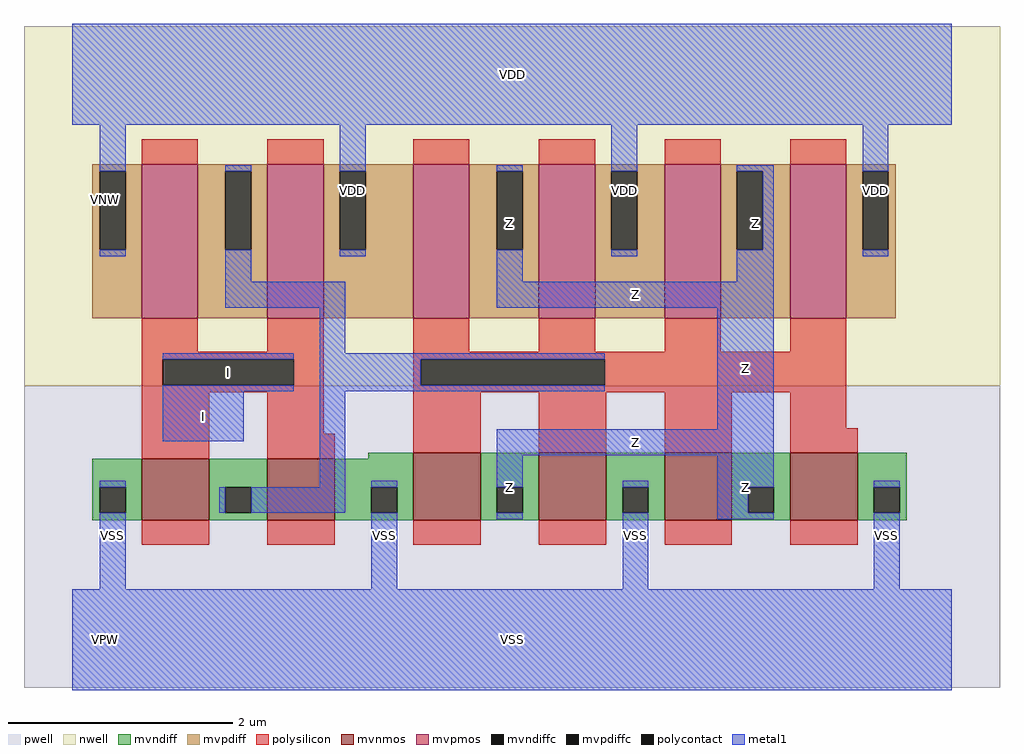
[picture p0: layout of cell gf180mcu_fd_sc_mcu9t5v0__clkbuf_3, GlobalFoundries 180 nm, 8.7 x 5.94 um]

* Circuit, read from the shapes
.subckt gf180mcu_fd_sc_mcu9t5v0__clkbuf_3 I Z VDD VNW VPW VSS
XM1 n1 I VSS VPW nfet_06v0 w=0.55u l=0.6u m=2
XM2 Z n1 VSS VPW nfet_06v0 w=0.6u l=0.6u m=4
XM3 n1 I VDD VNW pfet_06v0 w=1.375u l=0.5u m=2
XM4 Z n1 VDD VNW pfet_06v0 w=1.375u l=0.5u m=4
.ends

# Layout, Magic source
magic
tech gf180mcuD
magscale 1 10
<< nwell >>
rect -86 453 1654 1094
<< pwell >>
rect -86 -86 1654 453
<< mvnmos >>
rect 124 213 244 323
rect 348 213 468 323
rect 608 213 728 333
rect 832 213 952 333
rect 1056 213 1176 333
rect 1280 213 1400 333
<< mvpmos >>
rect 124 573 224 848
rect 348 573 448 848
rect 608 573 708 848
rect 832 573 932 848
rect 1056 573 1156 848
rect 1280 573 1380 848
<< mvndiff >>
rect 528 323 608 333
rect 36 272 124 323
rect 36 226 49 272
rect 95 226 124 272
rect 36 213 124 226
rect 244 272 348 323
rect 244 226 273 272
rect 319 226 348 272
rect 244 213 348 226
rect 468 272 608 323
rect 468 226 533 272
rect 579 226 608 272
rect 468 213 608 226
rect 728 272 832 333
rect 728 226 757 272
rect 803 226 832 272
rect 728 213 832 226
rect 952 272 1056 333
rect 952 226 981 272
rect 1027 226 1056 272
rect 952 213 1056 226
rect 1176 272 1280 333
rect 1176 226 1205 272
rect 1251 226 1280 272
rect 1176 213 1280 226
rect 1400 272 1488 333
rect 1400 226 1429 272
rect 1475 226 1488 272
rect 1400 213 1488 226
<< mvpdiff >>
rect 36 835 124 848
rect 36 695 49 835
rect 95 695 124 835
rect 36 573 124 695
rect 224 835 348 848
rect 224 695 273 835
rect 319 695 348 835
rect 224 573 348 695
rect 448 835 608 848
rect 448 695 477 835
rect 523 695 608 835
rect 448 573 608 695
rect 708 835 832 848
rect 708 695 757 835
rect 803 695 832 835
rect 708 573 832 695
rect 932 835 1056 848
rect 932 695 961 835
rect 1007 695 1056 835
rect 932 573 1056 695
rect 1156 835 1280 848
rect 1156 695 1185 835
rect 1231 695 1280 835
rect 1156 573 1280 695
rect 1380 835 1468 848
rect 1380 695 1409 835
rect 1455 695 1468 835
rect 1380 573 1468 695
<< mvndiffc >>
rect 49 226 95 272
rect 273 226 319 272
rect 533 226 579 272
rect 757 226 803 272
rect 981 226 1027 272
rect 1205 226 1251 272
rect 1429 226 1475 272
<< mvpdiffc >>
rect 49 695 95 835
rect 273 695 319 835
rect 477 695 523 835
rect 757 695 803 835
rect 961 695 1007 835
rect 1185 695 1231 835
rect 1409 695 1455 835
<< polysilicon >>
rect 124 848 224 892
rect 348 848 448 892
rect 608 848 708 892
rect 832 848 932 892
rect 1056 848 1156 892
rect 1280 848 1380 892
rect 124 513 224 573
rect 348 513 448 573
rect 124 500 448 513
rect 124 454 161 500
rect 395 454 448 500
rect 124 441 448 454
rect 124 323 244 441
rect 348 367 448 441
rect 608 513 708 573
rect 832 513 932 573
rect 1056 513 1156 573
rect 1280 513 1380 573
rect 608 500 1380 513
rect 608 454 621 500
rect 949 454 1380 500
rect 608 441 1380 454
rect 348 323 468 367
rect 608 333 728 441
rect 832 333 952 441
rect 1056 333 1176 441
rect 1280 377 1380 441
rect 1280 333 1400 377
rect 124 169 244 213
rect 348 169 468 213
rect 608 169 728 213
rect 832 169 952 213
rect 1056 169 1176 213
rect 1280 169 1400 213
<< polycontact >>
rect 161 454 395 500
rect 621 454 949 500
<< metal1 >>
rect 0 918 1568 1098
rect 49 835 95 918
rect 49 684 95 695
rect 273 835 319 846
rect 273 638 319 695
rect 477 835 523 918
rect 477 684 523 695
rect 757 835 803 846
rect 757 638 803 695
rect 961 835 1007 918
rect 961 684 1007 695
rect 1185 835 1251 846
rect 1231 695 1251 835
rect 1185 638 1251 695
rect 1409 835 1455 918
rect 1409 684 1455 695
rect 273 592 487 638
rect 757 592 1251 638
rect 441 511 487 592
rect 161 500 395 511
rect 161 443 395 454
rect 441 500 949 511
rect 441 454 621 500
rect 441 443 949 454
rect 161 354 306 443
rect 49 272 95 283
rect 441 272 487 443
rect 1150 375 1251 592
rect 757 329 1251 375
rect 262 226 273 272
rect 319 226 487 272
rect 533 272 579 283
rect 49 90 95 226
rect 533 90 579 226
rect 757 272 803 329
rect 757 215 803 226
rect 981 272 1027 283
rect 981 90 1027 226
rect 1150 272 1251 329
rect 1150 226 1205 272
rect 1150 215 1251 226
rect 1429 272 1475 283
rect 1429 90 1475 226
rect 0 -90 1568 90
<< labels >>
flabel metal1 s 161 443 395 511 0 FreeSans 200 0 0 0 I
port 1 nsew default input
flabel metal1 s 0 918 1568 1098 0 FreeSans 200 0 0 0 VDD
port 3 nsew power bidirectional abutment
flabel metal1 s 1429 90 1475 283 0 FreeSans 200 0 0 0 VSS
port 6 nsew ground bidirectional abutment
flabel metal1 s 1185 638 1251 846 0 FreeSans 200 0 0 0 Z
port 2 nsew default output
flabel nwell s 10 734 110 834 0 FreeSans 400 0 0 0 VNW
port 4 nsew power bidirectional
flabel pwell s 10 -50 110 50 0 FreeSans 400 0 0 0 VPW
port 5 nsew ground bidirectional
rlabel metal1 s 161 354 306 443 1 I
port 1 nsew default input
rlabel metal1 s 757 638 803 846 1 Z
port 2 nsew default output
rlabel metal1 s 757 592 1251 638 1 Z
port 2 nsew default output
rlabel metal1 s 1150 375 1251 592 1 Z
port 2 nsew default output
rlabel metal1 s 757 329 1251 375 1 Z
port 2 nsew default output
rlabel metal1 s 1150 215 1251 329 1 Z
port 2 nsew default output
rlabel metal1 s 757 215 803 329 1 Z
port 2 nsew default output
rlabel metal1 s 1409 684 1455 918 1 VDD
port 3 nsew power bidirectional abutment
rlabel metal1 s 961 684 1007 918 1 VDD
port 3 nsew power bidirectional abutment
rlabel metal1 s 477 684 523 918 1 VDD
port 3 nsew power bidirectional abutment
rlabel metal1 s 49 684 95 918 1 VDD
port 3 nsew power bidirectional abutment
rlabel metal1 s 981 90 1027 283 1 VSS
port 6 nsew ground bidirectional abutment
rlabel metal1 s 533 90 579 283 1 VSS
port 6 nsew ground bidirectional abutment
rlabel metal1 s 49 90 95 283 1 VSS
port 6 nsew ground bidirectional abutment
rlabel metal1 s 0 -90 1568 90 1 VSS
port 6 nsew ground bidirectional abutment
<< properties >>
string FIXED_BBOX 0 0 1568 1008
string GDS_END 1390862
string GDS_FILE $PDKPATH/libs.ref/gf180mcu_fd_sc_mcu9t5v0/gds/gf180mcu_fd_sc_mcu9t5v0.gds
string GDS_START 1386584
string LEFclass core
string LEFsite GF018hv5v_green_sc9
string LEFsymmetry X Y
<< end >>
